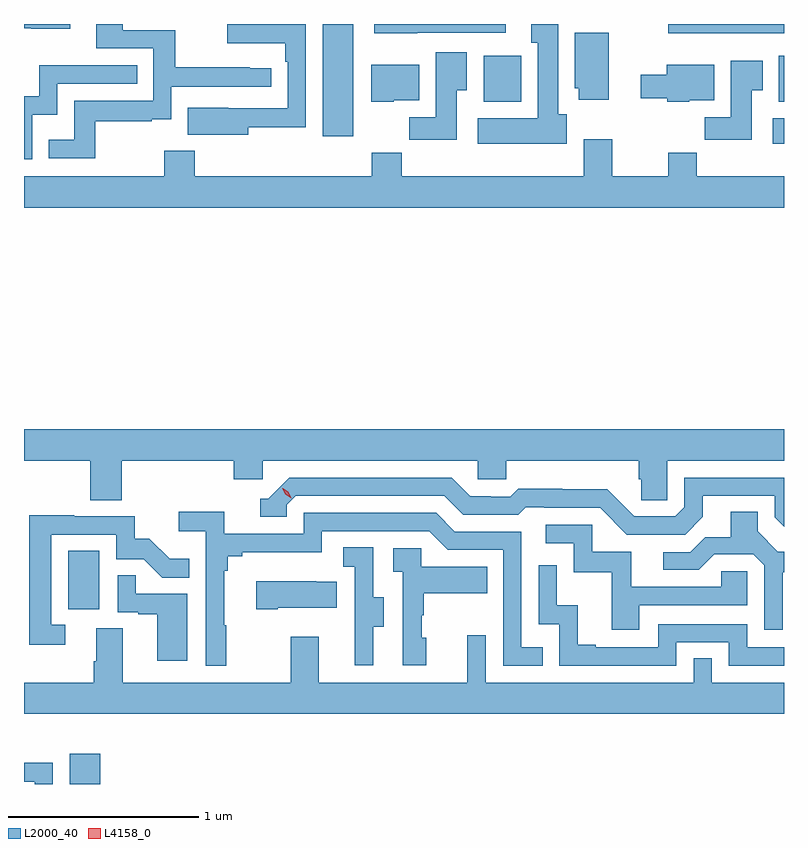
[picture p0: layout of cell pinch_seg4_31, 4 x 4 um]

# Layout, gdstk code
import gdstk
lib = gdstk.Library(unit=1e-6, precision=1e-09)
def R(c, l, rs):  # rectangles x0, y0, x1, y1
    for r in rs: c.add(gdstk.rectangle(r[:2], r[2:], *l))
def P(c, l, *ps):  # polygons
    for p in ps: c.add(gdstk.Polygon(p, *l))
L2000_40 = (2000, 40)
L4158_0 = (4158, 0)

pinch_seg4_31 = lib.new_cell('pinch_seg4_31')
R(pinch_seg4_31, L2000_40, [(1130.141,811.102,1130.302,811.261), (1130.132,812.022,1130.296,812.329), (1133.841,814.472,1133.9,814.606), (1131.473,814.512,1131.634,815.102), (1132.319,814.694,1132.516,814.936), (1133.873,814.694,1133.9,814.936), (1133.29,815.054,1133.9,815.102)])
P(pinch_seg4_31, L2000_40, [(1130.275,814.59),(1130.573,814.59),(1130.573,814.601),(1130.676,814.601),(1130.676,814.773),(1131.202,814.773),(1131.202,814.869),(1131.089,814.869),(1131.089,814.874),(1130.696,814.874),(1130.696,815.07),(1130.419,815.07),(1130.419,815.102),(1130.279,815.102),(1130.279,814.974),(1130.58,814.974),(1130.58,814.698),(1130.164,814.698),(1130.164,814.492),(1130.029,814.492),(1130.029,814.395),(1130.275,814.395)],
  [(1131.079,814.558),(1131.384,814.558),(1131.384,815.102),(1130.97,815.102),(1130.97,815),(1131.275,815),(1131.275,814.904),(1131.288,814.904),(1131.288,814.659),(1130.975,814.659),(1130.975,814.66),(1130.761,814.66),(1130.761,814.52),(1131.079,814.52)],
  [(1130.143,815.102),(1129.9,815.102),(1129.9,815.079),(1129.938,815.079),(1129.938,815.078),(1130.143,815.078)],
  [(1132.756,814.626),(1132.711,814.626),(1132.711,815.102),(1132.571,815.102),(1132.571,815.003),(1132.604,815.003),(1132.604,814.606),(1132.287,814.606),(1132.287,814.472),(1132.756,814.472)],
  [(1131.971,815.055),(1132.435,815.055),(1132.435,815.102),(1131.743,815.102),(1131.743,815.054),(1131.971,815.054)],
  [(1132.978,815.056),(1132.799,815.056),(1132.799,814.764),(1132.82,814.764),(1132.82,814.704),(1132.978,814.704)],
  [(1132.177,814.753),(1132.231,814.753),(1132.231,814.954),(1132.067,814.954),(1132.067,814.612),(1131.928,814.612),(1131.928,814.494),(1132.177,814.494)],
  [(1133.731,814.753),(1133.788,814.753),(1133.788,814.909),(1133.621,814.909),(1133.621,814.612),(1133.482,814.612),(1133.482,814.494),(1133.731,814.494)],
  [(1131.846,814.7),(1131.979,814.7),(1131.979,814.888),(1131.728,814.888),(1131.728,814.694),(1131.846,814.694)],
  [(1133.4,814.7),(1133.533,814.7),(1133.533,814.888),(1133.282,814.888),(1133.282,814.834),(1133.145,814.834),(1133.145,814.712),(1133.286,814.712),(1133.286,814.694),(1133.4,814.694)],
  [(1129.944,814.625),(1130.076,814.625),(1130.076,814.788),(1130.495,814.788),(1130.495,814.884),(1129.98,814.884),(1129.98,814.723),(1129.9,814.723),(1129.9,814.389),(1129.944,814.389)],
  [(1133.9,814.3),(1133.441,814.3),(1133.441,814.424),(1133.29,814.424),(1133.29,814.3),(1132.995,814.3),(1132.995,814.495),(1132.847,814.495),(1132.847,814.3),(1131.887,814.3),(1131.887,814.424),(1131.731,814.424),(1131.731,814.3),(1130.798,814.3),(1130.798,814.435),(1130.638,814.435),(1130.638,814.3),(1129.9,814.3),(1129.9,814.136),(1133.9,814.136)],
  [(1130.414,812.804),(1131.005,812.804),(1131.005,812.706),(1131.156,812.706),(1131.156,812.804),(1132.287,812.804),(1132.287,812.706),(1132.437,812.706),(1132.437,812.804),(1133.135,812.804),(1133.135,812.706),(1133.149,812.706),(1133.149,812.596),(1133.286,812.596),(1133.286,812.804),(1133.9,812.804),(1133.9,812.968),(1129.9,812.968),(1129.9,812.804),(1130.249,812.804),(1130.249,812.596),(1130.414,812.596)],
  [(1133.473,812.509),(1133.473,812.619),(1133.85,812.619),(1133.85,812.505),(1133.9,812.455),(1133.9,812.715),(1133.376,812.715),(1133.376,812.559),(1133.328,812.511),(1133.112,812.511),(1132.97,812.653),(1132.734,812.653),(1132.734,812.656),(1132.501,812.656),(1132.459,812.613),(1132.356,812.613),(1132.356,812.616),(1132.249,812.616),(1132.15,812.715),(1131.297,812.715),(1131.186,812.604),(1131.143,812.604),(1131.143,812.508),(1131.282,812.508),(1131.282,812.571),(1131.33,812.619),(1132.113,812.619),(1132.212,812.52),(1132.501,812.52),(1132.54,812.559),(1132.639,812.559),(1132.639,812.556),(1132.932,812.556),(1133.073,812.415),(1133.379,812.415)],
  [(1130.965,811.937),(1130.953,811.937),(1130.953,812.225),(1130.972,812.225),(1130.972,812.302),(1131.049,812.302),(1131.049,812.321),(1131.468,812.321),(1131.468,812.433),(1132.032,812.433),(1132.131,812.334),(1132.422,812.334),(1132.422,811.725),(1132.631,811.725),(1132.631,811.821),(1132.518,811.821),(1132.518,812.43),(1132.168,812.43),(1132.069,812.529),(1131.372,812.529),(1131.372,812.418),(1130.954,812.418),(1130.954,812.534),(1130.715,812.534),(1130.715,812.432),(1130.856,812.432),(1130.856,811.725),(1130.965,811.725)],
  [(1133.893,812.217),(1133.9,812.217),(1133.9,812.325),(1133.868,812.325),(1133.761,812.432),(1133.761,812.534),(1133.621,812.534),(1133.621,812.402),(1133.486,812.402),(1133.406,812.322),(1133.265,812.322),(1133.265,812.229),(1133.452,812.229),(1133.533,812.31),(1133.739,812.31),(1133.796,812.253),(1133.796,811.914),(1133.893,811.914)],
  [(1130.116,811.941),(1130.043,811.941),(1130.043,812.415),(1130.385,812.415),(1130.385,812.286),(1130.529,812.286),(1130.627,812.188),(1130.771,812.188),(1130.771,812.287),(1130.667,812.287),(1130.56,812.394),(1130.484,812.394),(1130.484,812.511),(1130.165,812.511),(1130.165,812.516),(1129.927,812.516),(1129.927,811.836),(1130.116,811.836)],
  [(1133.137,812.043),(1133.706,812.043),(1133.706,812.223),(1133.569,812.223),(1133.569,812.139),(1133.095,812.139),(1133.095,812.325),(1132.89,812.325),(1132.89,812.466),(1132.647,812.466),(1132.647,812.37),(1132.794,812.37),(1132.794,812.217),(1132.993,812.217),(1132.993,811.914),(1133.137,811.914)],
  [(1131.739,811.93),(1131.793,811.93),(1131.793,812.085),(1131.738,812.085),(1131.738,812.348),(1131.579,812.348),(1131.579,812.245),(1131.642,812.245),(1131.642,811.941),(1131.641,811.941),(1131.641,811.728),(1131.739,811.728)],
  [(1132.018,811.872),(1131.993,811.872),(1131.993,811.991),(1132.003,811.991),(1132.003,812.105),(1132.337,812.105),(1132.337,812.245),(1131.99,812.245),(1131.99,812.343),(1131.843,812.343),(1131.843,812.219),(1131.894,812.219),(1131.894,811.728),(1132.018,811.728)],
  [(1133.334,811.848),(1133.61,811.848),(1133.61,811.725),(1133.9,811.725),(1133.9,811.821),(1133.706,811.821),(1133.706,811.944),(1133.238,811.944),(1133.238,811.821),(1132.909,811.821),(1132.909,811.834),(1132.814,811.834),(1132.814,812.042),(1132.704,812.042),(1132.704,812.254),(1132.608,812.254),(1132.608,811.944),(1132.716,811.944),(1132.716,811.725),(1133.334,811.725)],
  [(1130.758,812.103),(1130.489,812.103),(1130.489,812.201),(1130.394,812.201),(1130.394,812.007),(1130.501,812.007),(1130.501,811.995),(1130.6,811.995),(1130.6,811.752),(1130.758,811.752)],
  [(1131.235,812.03),(1131.545,812.03),(1131.545,812.167),(1131.437,812.167),(1131.437,812.17),(1131.123,812.17),(1131.123,812.023),(1131.235,812.023)],
  [(1133.9,811.636),(1133.52,811.636),(1133.52,811.763),(1133.424,811.763),(1133.424,811.636),(1132.329,811.636),(1132.329,811.885),(1132.232,811.885),(1132.232,811.636),(1131.451,811.636),(1131.451,811.876),(1131.304,811.876),(1131.304,811.636),(1130.419,811.636),(1130.419,811.922),(1130.279,811.922),(1130.279,811.748),(1130.267,811.748),(1130.267,811.636),(1129.9,811.636),(1129.9,811.472),(1133.9,811.472)],
  [(1130.052,811.214),(1129.9,811.214),(1129.9,811.113),(1129.956,811.113),(1129.956,811.102),(1130.052,811.102)])
P(pinch_seg4_31, L4158_0, [(1131.307,812.606),(1131.276,812.626),(1131.26,812.659),(1131.26,812.659),(1131.261,812.659),(1131.291,812.639),(1131.307,812.606),(1131.307,812.606)])

lib.write_gds('pinch_seg4_31.gds')
